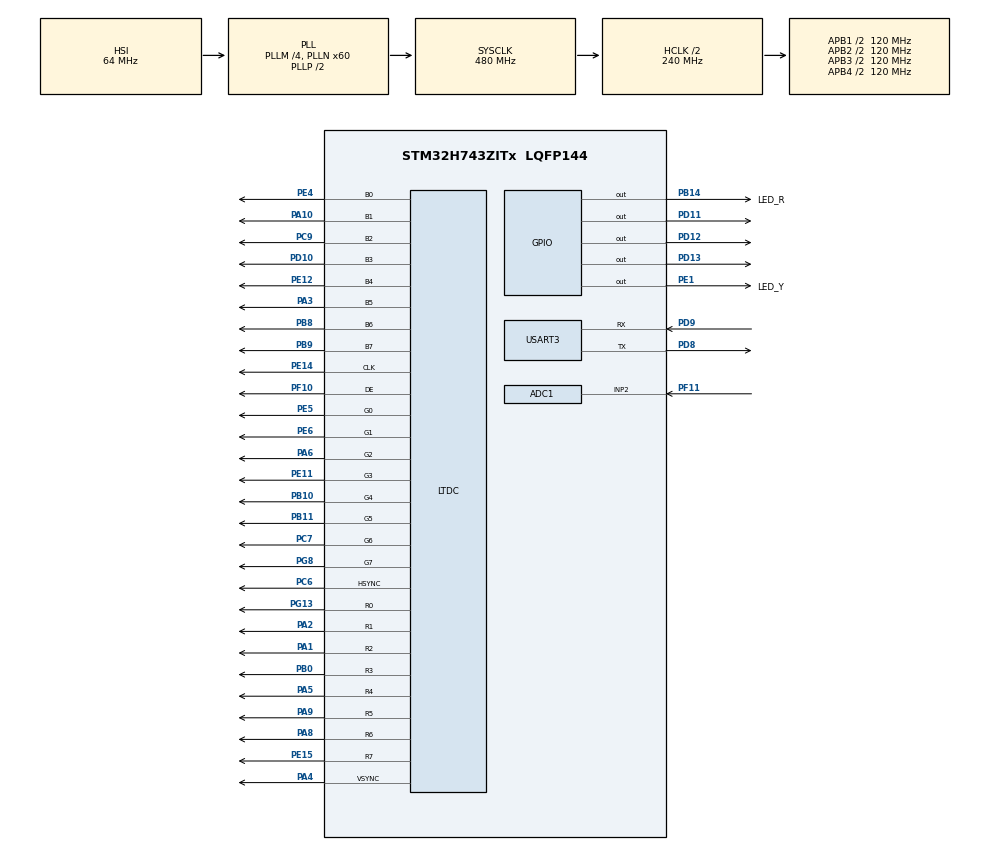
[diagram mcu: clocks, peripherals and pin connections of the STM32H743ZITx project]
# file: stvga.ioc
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ADC1.Channel-5\#ChannelRegularConversion=ADC_CHANNEL_2
ADC1.ContinuousConvMode=ENABLE
ADC1.ConversionDataManagement=ADC_CONVERSIONDATA_DMA_CIRCULAR
ADC1.EOCSelection=ADC_EOC_SEQ_CONV
ADC1.EnableRegularConversion=ENABLE
ADC1.ExternalTrigConv=ADC_EXTERNALTRIG_T3_TRGO
ADC1.NbrOfConversion=1
ADC1.NbrOfConversionFlag=1
ADC1.Offset-5\#ChannelRegularConversion=32768
ADC1.OffsetNumber-5\#ChannelRegularConversion=ADC_OFFSET_1
ADC1.OffsetSignedSaturation-5\#ChannelRegularConversion=DISABLE
ADC1.Overrun=ADC_OVR_DATA_OVERWRITTEN
ADC1.Rank-5\#ChannelRegularConversion=1
ADC1.SamplingTime-5\#ChannelRegularConversion=ADC_SAMPLETIME_387CYCLES_5
ADC1.master=1
Dma.ADC1.0.Direction=DMA_PERIPH_TO_MEMORY
Dma.ADC1.0.EventEnable=DISABLE
Dma.ADC1.0.FIFOMode=DMA_FIFOMODE_DISABLE
Dma.ADC1.0.Instance=DMA1_Stream0
Dma.ADC1.0.MemDataAlignment=DMA_MDATAALIGN_HALFWORD
Dma.ADC1.0.MemInc=DMA_MINC_ENABLE
Dma.ADC1.0.Mode=DMA_CIRCULAR
Dma.ADC1.0.PeriphDataAlignment=DMA_PDATAALIGN_HALFWORD
Dma.ADC1.0.PeriphInc=DMA_PINC_DISABLE
Dma.ADC1.0.Polarity=HAL_DMAMUX_REQ_GEN_RISING
Dma.ADC1.0.Priority=DMA_PRIORITY_MEDIUM
Dma.ADC1.0.RequestNumber=1
Dma.ADC1.0.SignalID=NONE
Dma.ADC1.0.SyncEnable=DISABLE
Dma.ADC1.0.SyncPolarity=HAL_DMAMUX_SYNC_NO_EVENT
Dma.ADC1.0.SyncRequestNumber=1
Dma.ADC1.0.SyncSignalID=NONE
Dma.Request0=ADC1
LTDC.ActiveH=480
LTDC.ActiveW=640
LTDC.Alpha0_L0=255
LTDC.Alpha0_L1=255
LTDC.Alpha_L0=255
LTDC.Alpha_L1=255
LTDC.Blue_L0=0
LTDC.FBStartAdress_L0=0
LTDC.FBStartAdress_L1=0
LTDC.Green_L0=255
LTDC.HBP=48
LTDC.HFP=16
LTDC.HSync=96
LTDC.ImageHeight_L0=480
LTDC.ImageHeight_L1=240
LTDC.ImageWidth_L0=640
LTDC.Layers=0
LTDC.PixelFormat_L0=LTDC_PIXEL_FORMAT_L8
LTDC.Red=0
LTDC.Red_L0=0
LTDC.VBP=33
LTDC.VFP=10
LTDC.VSync=2
LTDC.WindowX1_L0=640
LTDC.WindowX1_L1=640
LTDC.WindowY0_L0=0
LTDC.WindowY0_L1=240
LTDC.WindowY1_L0=480
LTDC.WindowY1_L1=480
Mcu.Family=STM32H7
Mcu.Name=STM32H743ZITx
Mcu.Package=LQFP144
NVIC.DMA1_Stream0_IRQn=true\:0\:0\:false\:false\:true\:false\:true
NVIC.LTDC_IRQn=true\:0\:0\:false\:false\:true\:true\:true
NVIC.PriorityGroup=NVIC_PRIORITYGROUP_4
NVIC.TIM3_IRQn=true\:0\:0\:false\:false\:true\:true\:true
PA1.Mode=RGB888
PA1.Signal=LTDC_R2
PA10.Mode=RGB888
PA10.Signal=LTDC_B1
PA2.Mode=RGB888
PA2.Signal=LTDC_R1
PA3.Mode=RGB888
PA3.Signal=LTDC_B5
PA4.Mode=RGB888
PA4.Signal=LTDC_VSYNC
PA5.Mode=RGB888
PA5.Signal=LTDC_R4
PA6.Mode=RGB888
PA6.Signal=LTDC_G2
PA8.Mode=RGB888
PA8.Signal=LTDC_R6
PA9.Mode=RGB888
PA9.Signal=LTDC_R5
PB0.Mode=RGB888
PB0.Signal=LTDC_R3
PB10.Mode=RGB888
PB10.Signal=LTDC_G4
PB11.Mode=RGB888
PB11.Signal=LTDC_G5
PB14.GPIO_Label=LED_R
PB14.GPIO_PuPd=GPIO_NOPULL
PB14.Signal=GPIO_Output
PB8.Mode=RGB888
PB8.Signal=LTDC_B6
PB9.Mode=RGB888
PB9.Signal=LTDC_B7
PC6.Mode=RGB888
PC6.Signal=LTDC_HSYNC
PC7.Mode=RGB888
PC7.Signal=LTDC_G6
PC9.Mode=RGB888
PC9.Signal=LTDC_B2
PD10.Mode=RGB888
PD10.Signal=LTDC_B3
PD11.GPIO_PuPd=GPIO_PULLDOWN
PD11.GPIO_Speed=GPIO_SPEED_FREQ_VERY_HIGH
PD11.Signal=GPIO_Output
PD12.GPIO_PuPd=GPIO_PULLDOWN
PD12.GPIO_Speed=GPIO_SPEED_FREQ_VERY_HIGH
PD12.Signal=GPIO_Output
PD13.GPIO_PuPd=GPIO_PULLDOWN
PD13.GPIO_Speed=GPIO_SPEED_FREQ_VERY_HIGH
PD13.Signal=GPIO_Output
PD8.Mode=Asynchronous
PD8.Signal=USART3_TX
PD9.Mode=Asynchronous
PD9.Signal=USART3_RX
PE1.GPIO_Label=LED_Y
PE1.Signal=GPIO_Output
PE11.Mode=RGB888
PE11.Signal=LTDC_G3
PE12.Mode=RGB888
PE12.Signal=LTDC_B4
PE14.Mode=RGB888
PE14.Signal=LTDC_CLK
PE15.Mode=RGB888
PE15.Signal=LTDC_R7
PE4.Mode=RGB888
PE4.Signal=LTDC_B0
PE5.Mode=RGB888
PE5.Signal=LTDC_G0
PE6.Mode=RGB888
PE6.Signal=LTDC_G1
PF10.Mode=RGB888
PF10.Signal=LTDC_DE
PF11.Mode=IN2-Single-Ended
PF11.Signal=ADC1_INP2
PG13.Mode=RGB888
PG13.Signal=LTDC_R0
PG8.Mode=RGB888
PG8.Signal=LTDC_G7
ProjectManager.HeapSize=0x200
ProjectManager.StackSize=0x400
ProjectManager.TargetToolchain=STM32CubeIDE
RCC.ADCFreq_Value=160000000
RCC.APB1Freq_Value=120000000
RCC.APB2Freq_Value=120000000
RCC.APB3Freq_Value=120000000
RCC.APB4Freq_Value=120000000
RCC.CortexFreq_Value=480000000
RCC.D1PPRE=RCC_APB3_DIV2
RCC.D2PPRE1=RCC_APB1_DIV2
RCC.D2PPRE2=RCC_APB2_DIV2
RCC.D3PPRE=RCC_APB4_DIV2
RCC.DIVM1=4
RCC.DIVM2=4
RCC.DIVM3=1
RCC.DIVN1=60
RCC.DIVN2=20
RCC.DIVN3=11
RCC.DIVR3=28
RCC.HCLKFreq_Value=240000000
RCC.HPRE=RCC_HCLK_DIV2
RCC.PLL2FRACN=0
RCC.PLL3FRACN=115.2
RCC.PLLFRACN=0
RCC.SYSCLKFreq_VALUE=480000000
RCC.SYSCLKSource=RCC_SYSCLKSOURCE_PLLCLK
RCC.USBFreq_Value=480000000
TIM3.Period=499
TIM3.Prescaler=9
TIM3.TIM_MasterOutputTrigger=TIM_TRGO_UPDATE
USART3.VirtualMode-Asynchronous=VM_ASYNC
VP_TIM3_VS_ClockSourceINT.Mode=Internal
board=custom

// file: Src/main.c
/* USER CODE BEGIN Header */
/**
 ******************************************************************************
 * @file           : main.c
 * @brief          : Main program body
 ******************************************************************************
 * @attention
 *
 * Copyright (c) 2022 STMicroelectronics.
 * All rights reserved.
 *
 * This software is licensed under terms that can be found in the LICENSE file
 * in the root directory of this software component.
 * If no LICENSE file comes with this software, it is provided AS-IS.
 *
 ******************************************************************************
 */
/* USER CODE END Header */
#include "main.h"
#include "adc.h"
#include "dma.h"
#include "ltdc.h"
#include "tim.h"
#include "usart.h"
#include "gpio.h"

/* USER CODE BEGIN Includes */
#define ARM_MATH_CM7

#include "arm_math.h"
#include "image_buffer.h"
#include "stm32h7xx.h"
#include <stdint.h>
#include <string.h>

/* USER CODE END Includes */

void SystemClock_Config(void);

/* USER CODE BEGIN 0 */
#define SCREEN_HEIGHT 480
#define SCREEN_WIDTH 640
#define ADC_BUFFER_SIZE 4096

int16_t ADCbuf[ADC_BUFFER_SIZE];
int16_t FFTbuf[ADC_BUFFER_SIZE * 2];
int16_t Magbuf[ADC_BUFFER_SIZE];

int16_t MaxValue = 0;
uint32_t MaxValueIndex = 0;

void drawBar(int x, int y, int16_t max_val) {
  if (y > SCREEN_HEIGHT / 2) {
    y = SCREEN_HEIGHT / 2;
  }
  float f = ((float)y / max_val) * SCREEN_HEIGHT / 2;
  uint16_t conv = SCREEN_HEIGHT - (uint16_t)f;

  for (int i = SCREEN_HEIGHT / 2; i < SCREEN_HEIGHT; i++) {
    if (i >= conv) {
      image_buffer[i * SCREEN_WIDTH + x] = 255;
    } else {
      image_buffer[i * SCREEN_WIDTH + x] = 0;
    }
  }
}

void drawSignal(int16_t *buf, int buflen) {
  for (int i = 0; i < SCREEN_WIDTH; i++) {
    float y = (float)buf[i*6] + 32768;
    float f = (y / 65535) * SCREEN_HEIGHT / 2;
    uint16_t conv = SCREEN_HEIGHT / 2 - (uint16_t)f;

    for (int j = 0; j < SCREEN_HEIGHT / 2; j++) {
      if (j == conv) {
        image_buffer[j * SCREEN_WIDTH + i] = 255;
      } else {
        image_buffer[j * SCREEN_WIDTH + i] = 0;
      }
    }
  }
}
/* USER CODE END 0 */

int main(void)
{
  /* USER CODE BEGIN 1 */
  fill_image_buffer();
  /* USER CODE END 1 */

  /* MCU Configuration--------------------------------------------------------*/

  /* Reset of all peripherals, Initializes the Flash interface and the Systick. */
  HAL_Init();

  /* USER CODE BEGIN Init */
  // Need to call DMA init BEFORE ADC init!!
  MX_DMA_Init();
  /* USER CODE END Init */

  /* Configure the system clock */
  SystemClock_Config();

  /* Initialize all configured peripherals */
  MX_GPIO_Init();
  MX_LTDC_Init();
  MX_ADC1_Init();
  MX_DMA_Init();
  MX_USART3_UART_Init();
  MX_TIM3_Init();
  /* USER CODE BEGIN 2 */
  HAL_LTDC_SetAddress(&hltdc, (uint32_t)&image_buffer, 0);
  HAL_ADC_Start_DMA(&hadc1, (uint32_t *)ADCbuf, ADC_BUFFER_SIZE);

  /* USER CODE END 2 */

  /* Infinite loop */
  /* USER CODE BEGIN WHILE */

  HAL_TIM_Base_Start_IT(&htim3);

  arm_rfft_instance_q15 fft;

  while (1) {
    // Create a copy of signal samples buffer
    int16_t signal[ADC_BUFFER_SIZE];
    memcpy(signal, ADCbuf, ADC_BUFFER_SIZE * sizeof(int16_t));

    drawSignal(signal, ADC_BUFFER_SIZE);

    // perform FFT
    arm_rfft_init_q15(&fft, ADC_BUFFER_SIZE, 0, 0);
    arm_rfft_q15(&fft, signal, FFTbuf);

    // Calculate magnitude
    arm_cmplx_mag_q15(FFTbuf, Magbuf, ADC_BUFFER_SIZE);
    //Calculate maximum value, do not include magnitude 0 (constant V)
    arm_max_q15(&Magbuf[1], ADC_BUFFER_SIZE - 1, &MaxValue, &MaxValueIndex);

    for (int i = 0, j = 0; i < SCREEN_WIDTH; i++, j += 3) {
      drawBar(i, Magbuf[j], MaxValue);
    }

    /* USER CODE END WHILE */

    /* USER CODE BEGIN 3 */
    // HAL_UART_Transmit(&huart3, "FFS\r\n", 5, 100);
  }
  /* USER CODE END 3 */
}

void SystemClock_Config(void)
{
  RCC_OscInitTypeDef RCC_OscInitStruct = {0};
  RCC_ClkInitTypeDef RCC_ClkInitStruct = {0};

  /** Supply configuration update enable
  */
  HAL_PWREx_ConfigSupply(PWR_LDO_SUPPLY);
  /** Configure the main internal regulator output voltage
  */
  __HAL_PWR_VOLTAGESCALING_CONFIG(PWR_REGULATOR_VOLTAGE_SCALE0);

  while(!__HAL_PWR_GET_FLAG(PWR_FLAG_VOSRDY)) {}
  /** Macro to configure the PLL clock source
  */
  __HAL_RCC_PLL_PLLSOURCE_CONFIG(RCC_PLLSOURCE_HSI);
  /** Initializes the RCC Oscillators according to the specified parameters
  * in the RCC_OscInitTypeDef structure.
  */
  RCC_OscInitStruct.OscillatorType = RCC_OSCILLATORTYPE_HSI;
  RCC_OscInitStruct.HSIState = RCC_HSI_DIV1;
  RCC_OscInitStruct.HSICalibrationValue = RCC_HSICALIBRATION_DEFAULT;
  RCC_OscInitStruct.PLL.PLLState = RCC_PLL_ON;
  RCC_OscInitStruct.PLL.PLLSource = RCC_PLLSOURCE_HSI;
  RCC_OscInitStruct.PLL.PLLM = 4;
  RCC_OscInitStruct.PLL.PLLN = 60;
  RCC_OscInitStruct.PLL.PLLP = 2;
  RCC_OscInitStruct.PLL.PLLQ = 2;
  RCC_OscInitStruct.PLL.PLLR = 2;
  RCC_OscInitStruct.PLL.PLLRGE = RCC_PLL1VCIRANGE_3;
  RCC_OscInitStruct.PLL.PLLVCOSEL = RCC_PLL1VCOWIDE;
  RCC_OscInitStruct.PLL.PLLFRACN = 0;
  if (HAL_RCC_OscConfig(&RCC_OscInitStruct) != HAL_OK)
  {
    Error_Handler();
  }
  /** Initializes the CPU, AHB and APB buses clocks
  */
  RCC_ClkInitStruct.ClockType = RCC_CLOCKTYPE_HCLK|RCC_CLOCKTYPE_SYSCLK
                              |RCC_CLOCKTYPE_PCLK1|RCC_CLOCKTYPE_PCLK2
                              |RCC_CLOCKTYPE_D3PCLK1|RCC_CLOCKTYPE_D1PCLK1;
  RCC_ClkInitStruct.SYSCLKSource = RCC_SYSCLKSOURCE_PLLCLK;
  RCC_ClkInitStruct.SYSCLKDivider = RCC_SYSCLK_DIV1;
  RCC_ClkInitStruct.AHBCLKDivider = RCC_HCLK_DIV2;
  RCC_ClkInitStruct.APB3CLKDivider = RCC_APB3_DIV2;
  RCC_ClkInitStruct.APB1CLKDivider = RCC_APB1_DIV2;
  RCC_ClkInitStruct.APB2CLKDivider = RCC_APB2_DIV2;
  RCC_ClkInitStruct.APB4CLKDivider = RCC_APB4_DIV2;

  if (HAL_RCC_ClockConfig(&RCC_ClkInitStruct, FLASH_LATENCY_4) != HAL_OK)
  {
    Error_Handler();
  }
}

/* USER CODE BEGIN 4 */

void HAL_ADC_ConvCpltCallback(ADC_HandleTypeDef *hadc) {
  HAL_GPIO_TogglePin(LED_R_GPIO_Port, LED_R_Pin);
}

void HAL_ADC_ConvHalfCpltCallback(ADC_HandleTypeDef *hadc) {}

void HAL_ADC_ErrorCallback(ADC_HandleTypeDef *hadc) {
  HAL_UART_Transmit(&huart3, "ERRR\r\n", 6, 100);
}
/* USER CODE END 4 */

void Error_Handler(void)
{
  __disable_irq();
  while (1) {
  }
}

#ifdef  USE_FULL_ASSERT
/**
  * @brief  Reports the name of the source file and the source line number
  *         where the assert_param error has occurred.
  * @param  file: pointer to the source file name
  * @param  line: assert_param error line source number
  * @retval None
  */
void assert_failed(uint8_t *file, uint32_t line)
{
  /* USER CODE BEGIN 6 */
  /* User can add his own implementation to report the file name and line
     number,
     ex: printf("Wrong parameters value: file %s on line %d\r\n", file, line) */
  /* USER CODE END 6 */
}
#endif /* USE_FULL_ASSERT */
